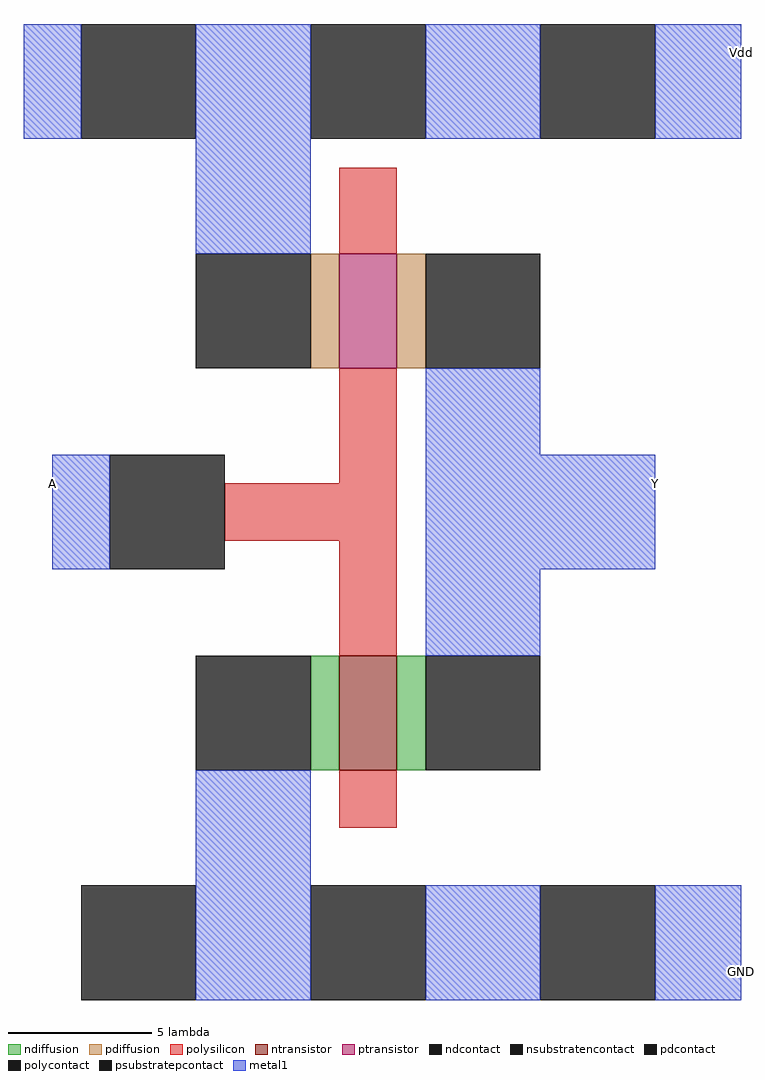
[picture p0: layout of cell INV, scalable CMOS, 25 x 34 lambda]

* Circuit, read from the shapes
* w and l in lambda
.subckt INV A GND Vdd Y
M1 Y A GND GND nfet w=4 l=2
M2 Y A Vdd Vdd pfet w=4 l=2
.ends

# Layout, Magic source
magic
tech scmos
<< polysilicon >>
rect 0 20 2 23
rect 0 12 2 16
rect -4 10 2 12
rect 0 6 2 10
rect 0 0 2 2
<< ndiffusion >>
rect -1 2 0 6
rect 2 2 3 6
<< pdiffusion >>
rect -1 16 0 20
rect 2 16 3 20
<< metal1 >>
rect -11 24 -9 28
rect -5 20 -1 28
rect 3 24 7 28
rect 11 24 14 28
rect 3 13 7 16
rect -10 9 -8 13
rect 3 9 11 13
rect 3 6 7 9
rect -5 -6 -1 2
rect 3 -6 7 -2
rect 11 -6 14 -2
<< ntransistor >>
rect 0 2 2 6
<< ptransistor >>
rect 0 16 2 20
<< polycontact >>
rect -8 9 -4 13
<< ndcontact >>
rect -5 2 -1 6
rect 3 2 7 6
<< pdcontact >>
rect -5 16 -1 20
rect 3 16 7 20
<< psubstratepcontact >>
rect -9 -6 -5 -2
rect -1 -6 3 -2
rect 7 -6 11 -2
<< nsubstratencontact >>
rect -9 24 -5 28
rect -1 24 3 28
rect 7 24 11 28
<< labels >>
rlabel metal1 11 11 11 13 7 Y
rlabel metal1 14 -6 14 -4 8 GND
rlabel metal1 14 26 14 28 6 Vdd
rlabel metal1 -10 11 -10 13 3 A
<< end >>
